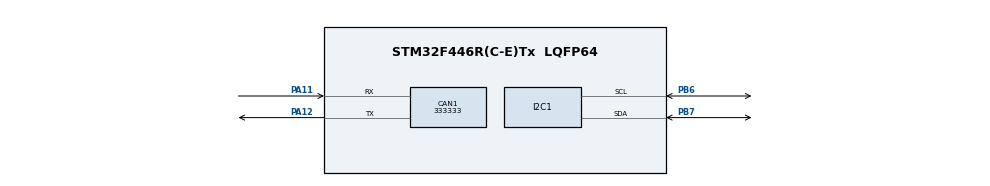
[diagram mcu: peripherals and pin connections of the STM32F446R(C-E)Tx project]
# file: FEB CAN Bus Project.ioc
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CAN1.CalculateBaudRate=333333
CAN1.CalculateTimeBit=3000
CAN1.CalculateTimeQuantum=1000.0
Mcu.Family=STM32F4
Mcu.Name=STM32F446R(C-E)Tx
Mcu.Package=LQFP64
NVIC.PriorityGroup=NVIC_PRIORITYGROUP_4
PA11.Mode=CAN_Activate
PA11.Signal=CAN1_RX
PA12.Mode=CAN_Activate
PA12.Signal=CAN1_TX
PB6.Mode=I2C
PB6.Signal=I2C1_SCL
PB7.Mode=I2C
PB7.Signal=I2C1_SDA
ProjectManager.HeapSize=0x200
ProjectManager.StackSize=0x400
ProjectManager.TargetToolchain=STM32CubeIDE
RCC.CortexFreq_Value=16000000
RCC.USBFreq_Value=96000000
RCC.VCOOutputFreq_Value=192000000
board=custom

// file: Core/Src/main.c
/* USER CODE BEGIN Header */
/**
  ******************************************************************************
  * @file           : main.c
  * @brief          : Main program body
  ******************************************************************************
  * @attention
  *
  * Copyright (c) 2024 STMicroelectronics.
  * All rights reserved.
  *
  * This software is licensed under terms that can be found in the LICENSE file
  * in the root directory of this software component.
  * If no LICENSE file comes with this software, it is provided AS-IS.
  *
  ******************************************************************************
  */
/* USER CODE END Header */
#include "main.h"

/* USER CODE BEGIN Includes */
#include <stdio.h>
#include <string.h>
/* USER CODE END Includes */

CAN_HandleTypeDef hcan1;

I2C_HandleTypeDef hi2c1;

/* USER CODE BEGIN PV */
uint8_t slaveAddr = 0x40;

uint32_t canTxMailbox;

uint8_t dataBuffer[8];
const uint8_t dlc = 8;
/* USER CODE END PV */

void SystemClock_Config(void);
static void MX_GPIO_Init(void);
static void MX_CAN1_Init(void);
static void MX_I2C1_Init(void);

int main(void)
{

  /* MCU Configuration--------------------------------------------------------*/

  /* Reset of all peripherals, Initializes the Flash interface and the Systick. */
  HAL_Init();

  /* Configure the system clock */
  SystemClock_Config();

  /* Initialize all configured peripherals */
  MX_GPIO_Init();
  MX_CAN1_Init();
  MX_I2C1_Init();

  /* Infinite loop */
  /* USER CODE BEGIN WHILE */
  while (1)
  {
	// -- reset data buffer
	memset(dataBuffer, 0x00, dlc);

	// -- receive i2c data from MS4525DO

	// receive with 8 bytes, 1000 ms timeout with MS4525DO address at 0x40 [replace with actual address]
	HAL_I2C_Master_Receive(&hi2c1, slaveAddr, (uint8_t*)dataBuffer, 8, 1000);
	HAL_Delay(100);

    /* USER CODE END WHILE */

    /* USER CODE BEGIN 3 */

	// --- send data over CAN

	CAN_TxHeaderTypeDef header;

	header.IDE = CAN_ID_STD; // standard CAN message size (11 bits)
	header.StdId = 0x14; // CAN ID = 20
	header.RTR = CAN_RTR_DATA; // RTR bit to send a frame
	header.DLC = dlc; // data length code

	if (HAL_CAN_AddTxMessage(&hcan1, &header, dataBuffer, &canTxMailbox) != HAL_OK){
		printf("ERROR: unable to send CAN message");
	}

	HAL_Delay(100);
  }
  /* USER CODE END 3 */
}

void SystemClock_Config(void)
{
  RCC_OscInitTypeDef RCC_OscInitStruct = {0};
  RCC_ClkInitTypeDef RCC_ClkInitStruct = {0};

  /** Configure the main internal regulator output voltage
  */
  __HAL_RCC_PWR_CLK_ENABLE();
  __HAL_PWR_VOLTAGESCALING_CONFIG(PWR_REGULATOR_VOLTAGE_SCALE3);

  /** Initializes the RCC Oscillators according to the specified parameters
  * in the RCC_OscInitTypeDef structure.
  */
  RCC_OscInitStruct.OscillatorType = RCC_OSCILLATORTYPE_HSI;
  RCC_OscInitStruct.HSIState = RCC_HSI_ON;
  RCC_OscInitStruct.HSICalibrationValue = RCC_HSICALIBRATION_DEFAULT;
  RCC_OscInitStruct.PLL.PLLState = RCC_PLL_NONE;
  if (HAL_RCC_OscConfig(&RCC_OscInitStruct) != HAL_OK)
  {
    Error_Handler();
  }

  /** Initializes the CPU, AHB and APB buses clocks
  */
  RCC_ClkInitStruct.ClockType = RCC_CLOCKTYPE_HCLK|RCC_CLOCKTYPE_SYSCLK
                              |RCC_CLOCKTYPE_PCLK1|RCC_CLOCKTYPE_PCLK2;
  RCC_ClkInitStruct.SYSCLKSource = RCC_SYSCLKSOURCE_HSI;
  RCC_ClkInitStruct.AHBCLKDivider = RCC_SYSCLK_DIV1;
  RCC_ClkInitStruct.APB1CLKDivider = RCC_HCLK_DIV1;
  RCC_ClkInitStruct.APB2CLKDivider = RCC_HCLK_DIV1;

  if (HAL_RCC_ClockConfig(&RCC_ClkInitStruct, FLASH_LATENCY_0) != HAL_OK)
  {
    Error_Handler();
  }
}

static void MX_CAN1_Init(void)
{

  hcan1.Instance = CAN1;
  hcan1.Init.Prescaler = 16;
  hcan1.Init.Mode = CAN_MODE_NORMAL;
  hcan1.Init.SyncJumpWidth = CAN_SJW_1TQ;
  hcan1.Init.TimeSeg1 = CAN_BS1_1TQ;
  hcan1.Init.TimeSeg2 = CAN_BS2_1TQ;
  hcan1.Init.TimeTriggeredMode = DISABLE;
  hcan1.Init.AutoBusOff = DISABLE;
  hcan1.Init.AutoWakeUp = DISABLE;
  hcan1.Init.AutoRetransmission = DISABLE;
  hcan1.Init.ReceiveFifoLocked = DISABLE;
  hcan1.Init.TransmitFifoPriority = DISABLE;
  if (HAL_CAN_Init(&hcan1) != HAL_OK)
  {
    Error_Handler();
  }

}

static void MX_I2C1_Init(void)
{

  hi2c1.Instance = I2C1;
  hi2c1.Init.ClockSpeed = 100000;
  hi2c1.Init.DutyCycle = I2C_DUTYCYCLE_2;
  hi2c1.Init.OwnAddress1 = 0;
  hi2c1.Init.AddressingMode = I2C_ADDRESSINGMODE_7BIT;
  hi2c1.Init.DualAddressMode = I2C_DUALADDRESS_DISABLE;
  hi2c1.Init.OwnAddress2 = 0;
  hi2c1.Init.GeneralCallMode = I2C_GENERALCALL_DISABLE;
  hi2c1.Init.NoStretchMode = I2C_NOSTRETCH_DISABLE;
  if (HAL_I2C_Init(&hi2c1) != HAL_OK)
  {
    Error_Handler();
  }

}

static void MX_GPIO_Init(void)
{

  /* GPIO Ports Clock Enable */
  __HAL_RCC_GPIOA_CLK_ENABLE();
  __HAL_RCC_GPIOB_CLK_ENABLE();

}

void Error_Handler(void)
{
  __disable_irq();
  while (1)
  {
  }
}
